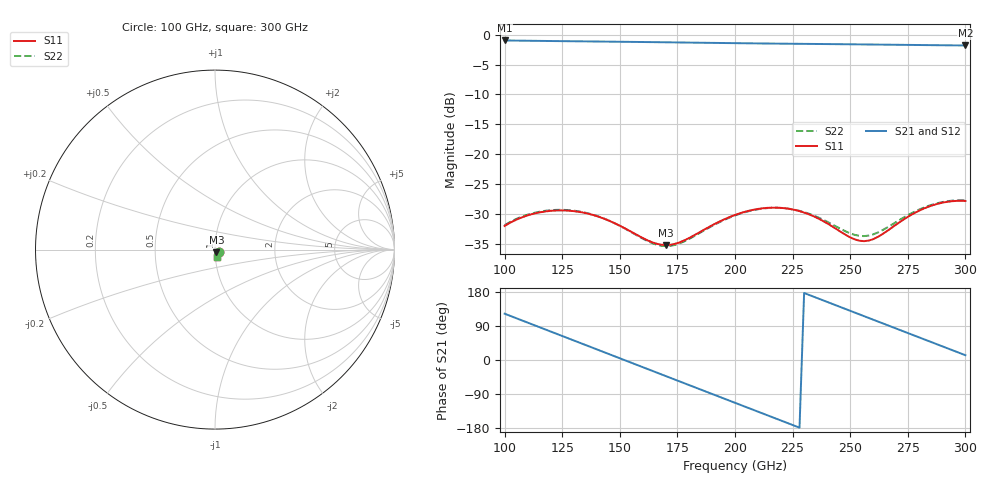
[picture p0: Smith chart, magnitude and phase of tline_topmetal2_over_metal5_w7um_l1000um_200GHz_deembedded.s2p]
! Created with skrf 2.2.0 (http://scikit-rf.org).
# GHz S DB R 50.0
! Port[1] = P1
! Port[2] = P2
!freq dBS11 angS11 dBS21 angS21 dBS12 angS12 dBS22 angS22
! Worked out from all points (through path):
!   101 points, 100 GHz to 300 GHz, reference 50 ohm
!   highest |S21| = -0.97 dB at 100 GHz (marker M1); lowest = -1.8 dB at 300 GHz (marker M2)
!   group delay of S21, straight-line fit = 6.52 ps
!   lowest |S11| = -35.2 dB at 170 GHz (marker M3), VSWR 1.04, Z = 50.8 - j1.57 ohm
!   |S11| at or under -10 dB: start of sweep to end of sweep
!   |S22| runs from -35.4 to -27.7 dB; largest |S21 - S12| = 1.6e-13
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100  -31.99 -27.1  -0.97 122.2  -0.97 122.2  -31.85 -27.9
108  -30.48 -35.0  -1.01 103.4  -1.01 103.4  -30.35 -35.9
116  -29.66 -44.3  -1.05 84.5  -1.05 84.5  -29.54 -45.5
124  -29.38 -54.0  -1.08 65.7  -1.08 65.7  -29.28 -55.4
134  -29.74 -65.7  -1.12 42.2  -1.12 42.2  -29.67 -67.3
144  -30.90 -75.1  -1.16 18.7  -1.16 18.7  -30.87 -76.8
152  -32.34 -78.7  -1.19 -0.1  -1.19 -0.1  -32.37 -80.4
160  -34.00 -76.3  -1.23 -19.0  -1.23 -19.0  -34.11 -77.8
168  -35.12 -66.0  -1.27 -37.8  -1.27 -37.8  -35.30 -67.0
170  -35.18 -62.6  -1.28 -42.5  -1.28 -42.5  -35.36 -63.4
186  -32.74 -45.4  -1.35 -80.1  -1.35 -80.1  -32.86 -45.1
200  -30.15 -50.8  -1.42 -112.9  -1.42 -112.9  -30.23 -49.9
218  -28.92 -69.4  -1.50 -155.1  -1.50 -155.1  -28.95 -67.6
226  -29.31 -78.3  -1.52 -173.9  -1.52 -173.9  -29.28 -76.0
234  -30.35 -85.5  -1.55 167.4  -1.55 167.4  -30.21 -82.5
242  -32.02 -88.1  -1.58 148.6  -1.58 148.6  -31.68 -84.5
252  -34.23 -78.2  -1.62 125.1  -1.62 125.1  -33.48 -75.6
258  -34.43 -65.4  -1.64 111.1  -1.64 111.1  -33.59 -65.0
268  -32.29 -51.2  -1.68 87.6  -1.68 87.6  -31.79 -53.0
282  -29.07 -55.8  -1.74 54.8  -1.74 54.8  -28.91 -56.6
292  -27.95 -66.5  -1.78 31.4  -1.78 31.4  -27.86 -66.1
300  -27.81 -76.2  -1.81 12.6  -1.81 12.6  -27.70 -74.8
